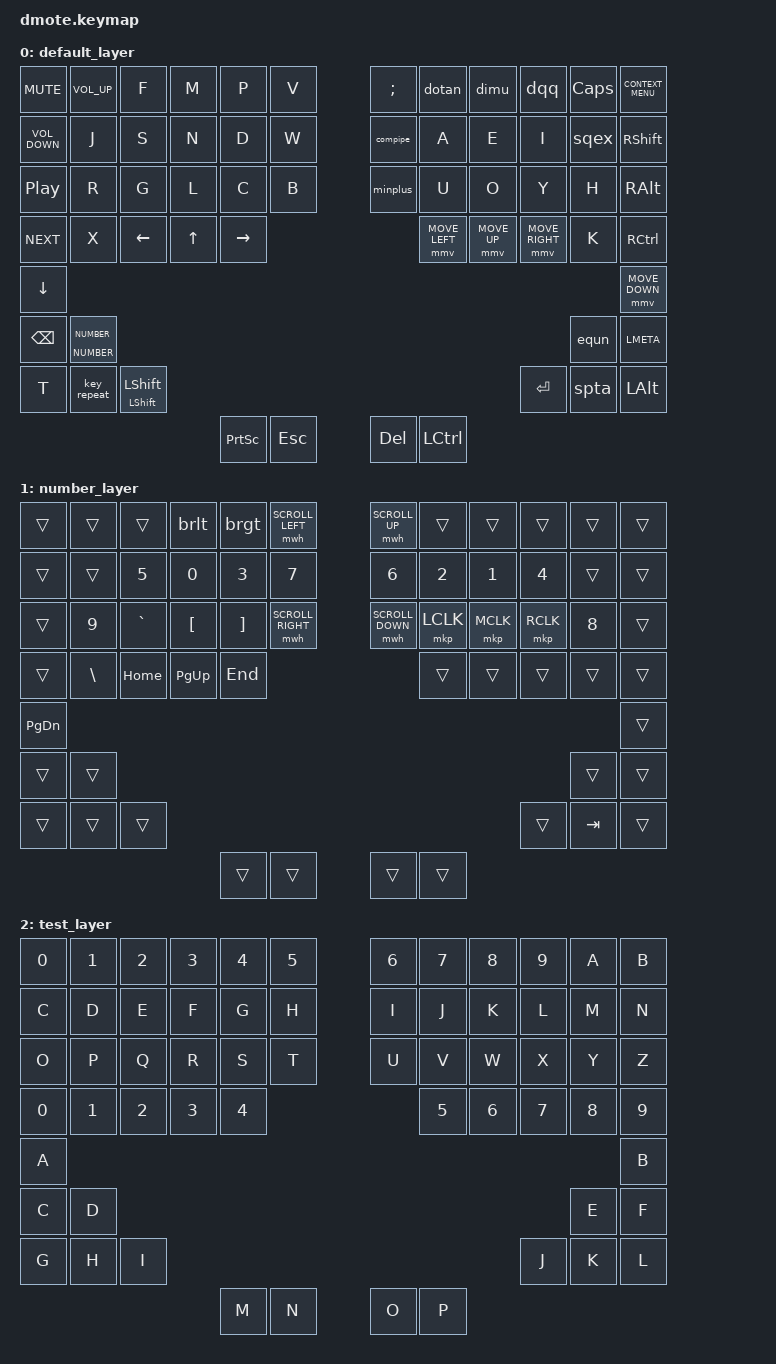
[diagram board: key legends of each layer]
#include <behaviors.dtsi>
#include <dt-bindings/zmk/keys.h>
#include <dt-bindings/zmk/bt.h>
#include <dt-bindings/zmk/mouse.h>

#define DEFAULT	0
#define NUMBER	1
#define TEST	2

/ {
	combos {
		compatible = "zmk,combos";
		combo_q {
			timeout-ms = <50>;
			key-positions = <31 44>;
			bindings = <&kp Q>;
		};
		combo_z {
			timeout-ms = <50>;
			key-positions = <2 3>;
			bindings = <&kp Z>;
		};
		combo_flash_left {
			timeout-ms = <50>;
			key-positions = <12 24 36>;
			bindings = <&bootloader>;
		};
		combo_reset_left {
			timeout-ms = <50>;
			key-positions = <24 36>;
			bindings = <&reset>;
		};
		combo_flash_right {
			timeout-ms = <50>;
			key-positions = <23 35 45>;
			bindings = <&bootloader>;
		};
		combo_reset_right {
			timeout-ms = <50>;
			key-positions = <35 45>;
			bindings = <&reset>;
		};
		combo_bluetooth_clear {
			timeout-ms = <50>;
			key-positions = <0 38>;
			bindings = <&bt BT_CLR>;
		};
		combo_test {
			timeout-ms = <50>;
			key-positions = <10 11>;
			bindings = <&tog TEST>;
		};
	};
	behaviors {
		minplus: minus_plus {
			compatible = "zmk,behavior-mod-morph";
			label = "MINUS_PLUS";
			#binding-cells = <0>;
			bindings = <&kp KP_MINUS>, <&kp KP_PLUS>;
			mods = <(MOD_LSFT)>;
		};
		dimu: divide_multiply {
			compatible = "zmk,behavior-mod-morph";
			label = "DIVIDE_MULTIPLY";
			#binding-cells = <0>;
			bindings = <&kp KP_DIVIDE>, <&kp KP_MULTIPLY>;
			mods = <(MOD_LSFT)>;
		};
		spta: space_tab {
			compatible = "zmk,behavior-mod-morph";
			label = "SPACE_TAB";
			#binding-cells = <0>;
			bindings = <&kp SPACE>, <&kp TAB>;
			mods = <(MOD_LSFT|MOD_LALT)>;
		};
		dotan: dot_ampersand {
			compatible = "zmk,behavior-mod-morph";
			label = "DOT_AMPERSAND";
			#binding-cells = <0>;
			bindings = <&kp DOT>, <&kp AMPERSAND>;
			mods = <(MOD_LSFT)>;
		};
		compipe: comma_pipe {
			compatible = "zmk,behavior-mod-morph";
			label = "COMMA_PIPE";
			#binding-cells = <0>;
			bindings = <&kp COMMA>, <&kp PIPE>;
			mods = <(MOD_LSFT)>;
		};
		dqq: doublequote_question {
			compatible = "zmk,behavior-mod-morph";
			label = "DOUBLEQUOTE_QUESTION";
			#binding-cells = <0>;
			bindings = <&kp DOUBLE_QUOTES>, <&kp QUESTION>;
			mods = <(MOD_LSFT)>;
		};
		sqex: singlequote_exclamation {
			compatible = "zmk,behavior-mod-morph";
			label = "SINGLEQUOTE_EXCLAMATION";
			#binding-cells = <0>;
			bindings = <&kp SINGLE_QUOTE>, <&kp EXCLAMATION>;
			mods = <(MOD_LSFT)>;
		};
		sa: sticky_shift {
			compatible = "zmk,behavior-hold-tap";
			label = "STICKY_SHIFT";
			#binding-cells = <2>;
			tapping-term-ms = <130>;
			flavor = "tap-preferred";
			bindings = <&kp>, <&sk>;
		};
		sb: sticky_shiftt {
			compatible = "zmk,behavior-hold-tap";
			label = "STICKY_SHIFTT";
			#binding-cells = <2>;
			tapping-term-ms = <130>;
			flavor = "tap-preferred";
			bindings = <&mo>, <&sl>;
		};
		equn: equal_underscore {
			compatible = "zmk,behavior-mod-morph";
			label = "EQUAL_UNDERSCORE";
			#binding-cells = <0>;
			bindings = <&kp EQUAL>, <&kp UNDERSCORE>;
			mods = <(MOD_LSFT)>;
		};
		brlt: left_bracket_less_than {
			compatible = "zmk,behavior-mod-morph";
			label = "LEFT_BRACKET_LESS_THAN";
			#binding-cells = <0>;
			bindings = <&kp LEFT_PARENTHESIS>, <&kp LT>;
			mods = <(MOD_LSFT)>;
		};
		brgt: right_bracket_greater_than {
			compatible = "zmk,behavior-mod-morph";
			label = "RIGHT_BRACKET_GREATER_THAN";
			#binding-cells = <0>;
			bindings = <&kp RIGHT_PARENTHESIS>, <&kp GT>;
			mods = <(MOD_LSFT)>;
		};
	};
	keymap {
		compatible = "zmk,keymap";

		default_layer {
			bindings = <
				&kp C_MUTE	&kp C_VOLUME_UP	&kp F	&kp M	&kp P	&kp V			&kp SEMI	&dotan	&dimu	&dqq	&kp CAPSLOCK	&kp K_CONTEXT_MENU
				&kp C_VOLUME_DOWN	&kp J	&kp S	&kp N	&kp D	&kp W			&compipe	&kp A	&kp E	&kp I	&sqex			&kp RSHFT
				&kp C_PLAY_PAUSE	&kp R	&kp G	&kp L	&kp C	&kp B			&minplus	&kp U	&kp O	&kp Y	&kp H			&kp RALT
				&kp C_NEXT	&kp X	&kp LEFT	&kp UP	&kp RIGHT								&mmv MOVE_LEFT	&mmv MOVE_UP	&mmv MOVE_RIGHT	&kp K			&kp RCTRL
												&kp DOWN												&mmv MOVE_DOWN
									&kp BSPC	&sb NUMBER NUMBER									&equn	&kp LMETA
								&kp T		&key_repeat		&sa LSHFT LSHFT					&kp RET		&spta	&kp LALT
										&kp PSCRN	&kp ESC											&kp DEL	&kp LCTRL
			>;
		};

		number_layer {
			bindings = <
				&trans	&trans		&trans		&brlt		&brgt		&mwh SCROLL_LEFT			&mwh SCROLL_UP	&trans	&trans	&trans	&trans	&trans
				&trans	&trans		&kp N5		&kp N0		&kp N3		&kp N7			&kp N6	&kp N2	&kp N1	&kp N4	&trans	&trans
				&trans	&kp N9		&kp GRAVE	&kp LBKT	&kp RBKT	&mwh SCROLL_RIGHT			&mwh SCROLL_DOWN	&mkp LCLK	&mkp MCLK	&mkp RCLK	&kp N8	&trans
				&trans	&kp BSLH	&kp HOME	&kp PAGE_UP	&kp END								&trans	&trans	&trans	&trans	&trans
												&kp PAGE_DOWN											&trans
												&trans	&trans										&trans	&trans
											&trans	&trans	&trans								&trans	&kp TAB	&trans
												&trans	&trans										&trans	&trans
			>;
		};

		test_layer {
			bindings = <
				&kp N0 &kp N1 &kp N2 &kp N3 &kp N4 &kp N5 &kp N6 &kp N7 &kp N8 &kp N9 &kp A &kp B
				&kp C &kp D &kp E &kp F &kp G &kp H &kp I &kp J &kp K &kp L &kp M &kp N
				&kp O &kp P &kp Q &kp R &kp S &kp T &kp U &kp V &kp W &kp X &kp Y &kp Z
				&kp N0 &kp N1 &kp N2 &kp N3 &kp N4 &kp N5 &kp N6 &kp N7 &kp N8 &kp N9
				&kp A &kp B
				&kp C &kp D &kp E &kp F
				&kp G &kp H &kp I &kp J &kp K &kp L
				&kp M &kp N &kp O &kp P
			>;
		};
	};
};
